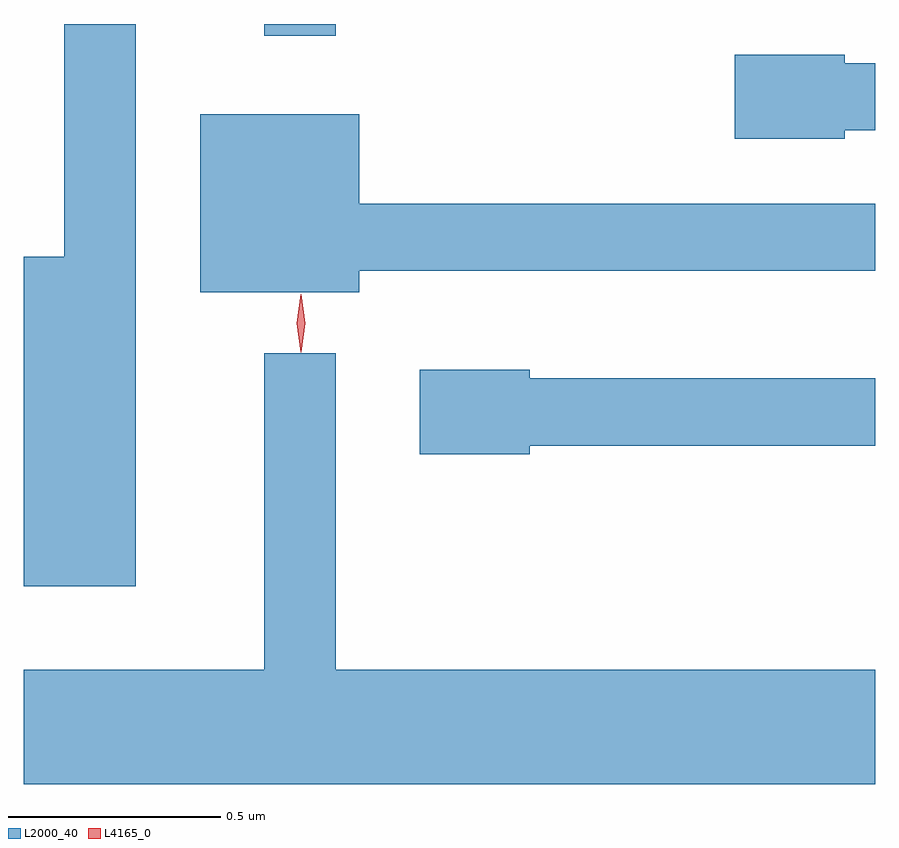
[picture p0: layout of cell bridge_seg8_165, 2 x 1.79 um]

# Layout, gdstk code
import gdstk
lib = gdstk.Library(unit=1e-6, precision=1e-09)
def R(c, l, rs):  # rectangles x0, y0, x1, y1
    for r in rs: c.add(gdstk.rectangle(r[:2], r[2:], *l))
def P(c, l, *ps):  # polygons
    for p in ps: c.add(gdstk.Polygon(p, *l))
L2000_40 = (2000, 40)
L4165_0 = (4165, 0)

bridge_seg8_165 = lib.new_cell('bridge_seg8_165')
R(bridge_seg8_165, L2000_40, [(1441.821,1924.753,1441.989,1924.781)])
P(bridge_seg8_165, L2000_40, [(1441.519,1924.781),(1441.351,1924.781),(1441.351,1924.234),(1441.256,1924.234),(1441.256,1923.461),(1441.519,1923.461)],
  [(1443.184,1924.531),(1443.256,1924.531),(1443.256,1924.689),(1443.184,1924.689),(1443.184,1924.709),(1442.926,1924.709),(1442.926,1924.511),(1443.184,1924.511)],
  [(1442.044,1924.201),(1443.256,1924.201),(1443.256,1924.359),(1442.044,1924.359),(1442.044,1924.569),(1441.671,1924.569),(1441.671,1924.151),(1442.044,1924.151)],
  [(1443.256,1923.264),(1441.989,1923.264),(1441.989,1924.008),(1441.821,1924.008),(1441.821,1923.264),(1441.256,1923.264),(1441.256,1922.996),(1443.256,1922.996)],
  [(1442.444,1923.791),(1443.256,1923.791),(1443.256,1923.949),(1442.444,1923.949),(1442.444,1923.969),(1442.186,1923.969),(1442.186,1923.771),(1442.444,1923.771)])
P(bridge_seg8_165, L4165_0, [(1441.907,1924.01),(1441.907,1924.01),(1441.897,1924.078),(1441.907,1924.146),(1441.907,1924.146),(1441.908,1924.146),(1441.917,1924.078),(1441.908,1924.01)])

lib.write_gds('bridge_seg8_165.gds')
